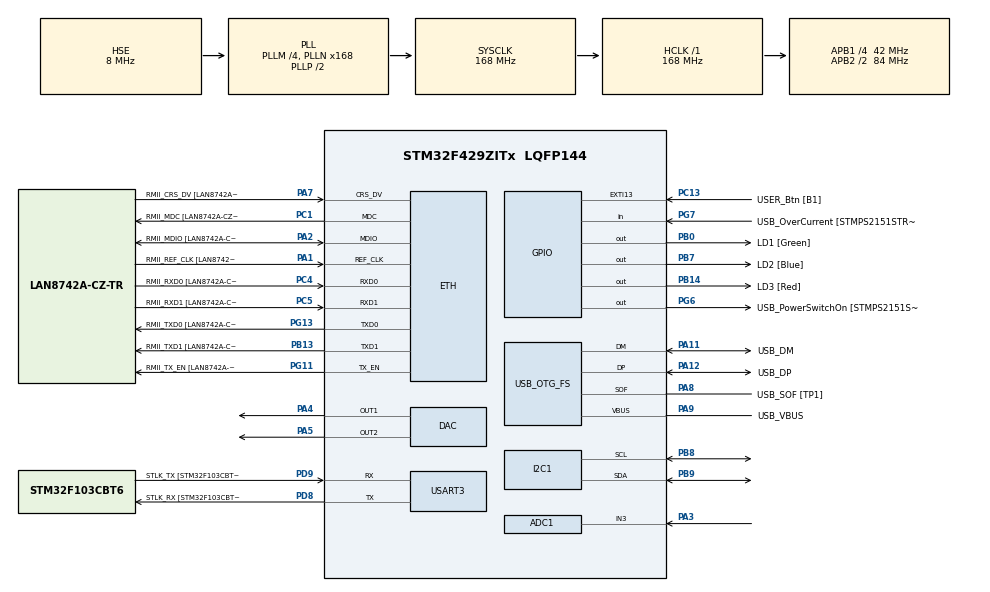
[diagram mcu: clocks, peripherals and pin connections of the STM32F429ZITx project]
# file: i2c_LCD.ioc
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ADC1.Channel-0\#ChannelRegularConversion=ADC_CHANNEL_3
ADC1.NbrOfConversionFlag=1
ADC1.Rank-0\#ChannelRegularConversion=1
ADC1.SamplingTime-0\#ChannelRegularConversion=ADC_SAMPLETIME_3CYCLES
ADC1.master=1
ETH.MediaInterface=HAL_ETH_RMII_MODE
ETH.PHY_Name=LAN8742A_PHY_ADDRESS
ETH.PHY_Value=0
ETH.PhyAddress=0
Mcu.Family=STM32F4
Mcu.Name=STM32F429ZITx
Mcu.Package=LQFP144
NVIC.PriorityGroup=NVIC_PRIORITYGROUP_4
PA1.GPIO_Label=RMII_REF_CLK [LAN8742A-CZ-TR_REFCLK0]
PA1.Mode=RMII
PA1.Signal=ETH_REF_CLK
PA10.GPIO_Label=USB_ID
PA10.Signal=USB_OTG_FS_ID
PA11.GPIO_Label=USB_DM
PA11.Mode=Device_Only
PA11.Signal=USB_OTG_FS_DM
PA12.GPIO_Label=USB_DP
PA12.Mode=Device_Only
PA12.Signal=USB_OTG_FS_DP
PA13.GPIO_Label=TMS
PA13.Mode=Serial_Wire
PA13.Signal=SYS_JTMS-SWDIO
PA14.GPIO_Label=TCK
PA14.Mode=Serial_Wire
PA14.Signal=SYS_JTCK-SWCLK
PA2.GPIO_Label=RMII_MDIO [LAN8742A-CZ-TR_MDIO]
PA2.Mode=RMII
PA2.Signal=ETH_MDIO
PA3.Signal=ADCx_IN3
PA4.Signal=COMP_DAC1_group
PA5.Signal=COMP_DAC2_group
PA7.GPIO_Label=RMII_CRS_DV [LAN8742A-CZ-TR_CRS_DV]
PA7.Mode=RMII
PA7.Signal=ETH_CRS_DV
PA8.GPIO_Label=USB_SOF [TP1]
PA8.Mode=Activate_SOF_FS
PA8.Signal=USB_OTG_FS_SOF
PA9.GPIO_Label=USB_VBUS
PA9.Mode=Activate_VBUS
PA9.Signal=USB_OTG_FS_VBUS
PB0.GPIO_Label=LD1 [Green]
PB0.Signal=GPIO_Output
PB13.GPIO_Label=RMII_TXD1 [LAN8742A-CZ-TR_TXD1]
PB13.Mode=RMII
PB13.Signal=ETH_TXD1
PB14.GPIO_Label=LD3 [Red]
PB14.Signal=GPIO_Output
PB7.GPIO_Label=LD2 [Blue]
PB7.Signal=GPIO_Output
PB8.Mode=I2C
PB8.Signal=I2C1_SCL
PB9.Mode=I2C
PB9.Signal=I2C1_SDA
PC1.GPIO_Label=RMII_MDC [LAN8742A-CZ-TR_MDC]
PC1.Mode=RMII
PC1.Signal=ETH_MDC
PC13.GPIO_Label=USER_Btn [B1]
PC13.Signal=GPXTI13
PC14/OSC32_IN.Mode=LSE-External-Oscillator
PC14/OSC32_IN.Signal=RCC_OSC32_IN
PC15/OSC32_OUT.Mode=LSE-External-Oscillator
PC15/OSC32_OUT.Signal=RCC_OSC32_OUT
PC4.GPIO_Label=RMII_RXD0 [LAN8742A-CZ-TR_RXD0]
PC4.Mode=RMII
PC4.Signal=ETH_RXD0
PC5.GPIO_Label=RMII_RXD1 [LAN8742A-CZ-TR_RXD1]
PC5.Mode=RMII
PC5.Signal=ETH_RXD1
PD8.GPIO_Label=STLK_RX [STM32F103CBT6_PA3]
PD8.Mode=Asynchronous
PD8.Signal=USART3_TX
PD9.GPIO_Label=STLK_TX [STM32F103CBT6_PA2]
PD9.Mode=Asynchronous
PD9.Signal=USART3_RX
PG11.GPIO_Label=RMII_TX_EN [LAN8742A-CZ-TR_TXEN]
PG11.Mode=RMII
PG11.Signal=ETH_TX_EN
PG13.GPIO_Label=RMII_TXD0 [LAN8742A-CZ-TR_TXD0]
PG13.Mode=RMII
PG13.Signal=ETH_TXD0
PG6.GPIO_Label=USB_PowerSwitchOn [STMPS2151STR_EN]
PG6.Signal=GPIO_Output
PG7.GPIO_Label=USB_OverCurrent [STMPS2151STR_FAULT]
PG7.Signal=GPIO_Input
PH0/OSC_IN.GPIO_Label=MCO [STM32F103CBT6_PA8]
PH0/OSC_IN.Mode=HSE-External-Clock-Source
PH0/OSC_IN.Signal=RCC_OSC_IN
PH1/OSC_OUT.Mode=HSE-External-Clock-Source
PH1/OSC_OUT.Signal=RCC_OSC_OUT
ProjectManager.HeapSize=0x200
ProjectManager.StackSize=0x400
ProjectManager.TargetToolchain=STM32CubeIDE
RCC.48MHZClocksFreq_Value=48000000
RCC.AHBFreq_Value=168000000
RCC.APB1CLKDivider=RCC_HCLK_DIV4
RCC.APB1Freq_Value=42000000
RCC.APB1TimFreq_Value=84000000
RCC.APB2CLKDivider=RCC_HCLK_DIV2
RCC.APB2Freq_Value=84000000
RCC.APB2TimCLKDivider=2
RCC.APB2TimFreq_Value=168000000
RCC.CortexFreq_Value=168000000
RCC.HCLKFreq_Value=168000000
RCC.HSE_VALUE=8000000
RCC.HSI_VALUE=16000000
RCC.PLLM=4
RCC.PLLMUL=RCC_PLL_MUL9
RCC.PLLN=168
RCC.PLLQ=7
RCC.PRESCALERUSB=RCC_USBCLKSOURCE_PLL_DIV1_5
RCC.SYSCLKFreq_VALUE=168000000
RCC.SYSCLKSource=RCC_SYSCLKSOURCE_PLLCLK
RCC.SYSCLKSourceVirtual=RCC_SYSCLKSOURCE_PLLCLK
RCC.USBFreq_Value=48000000
RCC.VCOOutputFreq_Value=336000000
SH.ADCx_IN3.0=ADC1_IN3,IN3
SH.COMP_DAC1_group.0=DAC_OUT1,DAC_OUT1
SH.COMP_DAC2_group.0=DAC_OUT2,DAC_OUT2
USART3.VirtualMode=VM_ASYNC
USB_OTG_FS.VirtualMode=Device_Only
board=NUCLEO-F429ZI

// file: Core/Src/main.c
/* USER CODE BEGIN Header */
/**
  ******************************************************************************
  * @file           : main.c
  * @brief          : Main program body
  ******************************************************************************
  * @attention
  *
  * Copyright (c) 2023 STMicroelectronics.
  * All rights reserved.
  *
  * This software is licensed under terms that can be found in the LICENSE file
  * in the root directory of this software component.
  * If no LICENSE file comes with this software, it is provided AS-IS.
  *
  ******************************************************************************
  */
/* USER CODE END Header */
#include "main.h"
#include "string.h"

ETH_TxPacketConfig TxConfig;
ETH_DMADescTypeDef  DMARxDscrTab[ETH_RX_DESC_CNT]; /* Ethernet Rx DMA Descriptors */
ETH_DMADescTypeDef  DMATxDscrTab[ETH_TX_DESC_CNT]; /* Ethernet Tx DMA Descriptors */

ADC_HandleTypeDef hadc1;

DAC_HandleTypeDef hdac;

ETH_HandleTypeDef heth;

I2C_HandleTypeDef hi2c1;

UART_HandleTypeDef huart3;

PCD_HandleTypeDef hpcd_USB_OTG_FS;

void SystemClock_Config(void);
static void MX_GPIO_Init(void);
static void MX_ETH_Init(void);
static void MX_USART3_UART_Init(void);
static void MX_USB_OTG_FS_PCD_Init(void);
static void MX_I2C1_Init(void);
static void MX_ADC1_Init(void);
static void MX_DAC_Init(void);
/* USER CODE BEGIN PFP */
int _write(int file, char *ptr, int len) {
	HAL_UART_Transmit(&huart3, (uint8_t *)ptr, len, 500);
	return len;
}

int __io_putchar(int ch) {
	HAL_UART_Transmit(&huart3, (uint8_t *)&ch, 1, 1000);
	return ch;
}
/* USER CODE END PFP */

/* USER CODE BEGIN 0 */

extern void I2C_Scan(void);
void init();
/* USER CODE END 0 */

int main(void)
{

  /* MCU Configuration--------------------------------------------------------*/

  /* Reset of all peripherals, Initializes the Flash interface and the Systick. */
  HAL_Init();

  /* Configure the system clock */
  SystemClock_Config();

  /* Initialize all configured peripherals */
  MX_GPIO_Init();
  MX_ETH_Init();
  MX_USART3_UART_Init();
  MX_USB_OTG_FS_PCD_Init();
  MX_I2C1_Init();
  MX_ADC1_Init();
  MX_DAC_Init();
  /* USER CODE BEGIN 2 */
  int adc_value;
  char lcd_buf1[30];
  char lcd_buf2[30];

  HAL_ADC_Start_IT(&hadc1);
  HAL_DAC_Start(&hdac, DAC_CHANNEL_1);
  HAL_DAC_Start(&hdac, DAC_CHANNEL_2);

//	init();
#define LCD_ADDR (0x27 << 1)
	I2C_Scan();
	LCD_Init(LCD_ADDR);
  /* USER CODE END 2 */

  /* Infinite loop */
  /* USER CODE BEGIN WHILE */
  while (1)
  {

	  HAL_DAC_SetValue(&hdac, DAC_CHANNEL_1, DAC_ALIGN_12B_R, adc_value);
	  HAL_DAC_SetValue(&hdac, DAC_CHANNEL_2, DAC_ALIGN_12B_R, 4095-adc_value);
	  HAL_Delay(1);

	  HAL_ADC_Start(&hadc1);
	  HAL_ADC_PollForConversion(&hadc1, 10);
	  adc_value = HAL_ADC_GetValue(&hadc1);
	  HAL_ADC_Stop(&hadc1);

	  sprintf(lcd_buf1, "ADC,DAC1 : %4d", adc_value);
	  sprintf(lcd_buf2, "DAC2 : %4d", 4095-adc_value);

	  printf("ADC : %d, DAC1 : %d, DAC2 : %d \r\n", adc_value, adc_value, 4095-adc_value);
	  HAL_Delay(300);

	// set address to 0x00
	LCD_SendCommand(LCD_ADDR, 0b10000000);
//	LCD_SendString(LCD_ADDR, " Hi! ");
	LCD_SendString(LCD_ADDR, lcd_buf1);

	// set address to 0x40
	LCD_SendCommand(LCD_ADDR, 0b11000000);
	LCD_SendString(LCD_ADDR, lcd_buf2);

    /* USER CODE END WHILE */

  }
}

void SystemClock_Config(void)
{
  RCC_OscInitTypeDef RCC_OscInitStruct = {0};
  RCC_ClkInitTypeDef RCC_ClkInitStruct = {0};

  /** Configure the main internal regulator output voltage
  */
  __HAL_RCC_PWR_CLK_ENABLE();
  __HAL_PWR_VOLTAGESCALING_CONFIG(PWR_REGULATOR_VOLTAGE_SCALE1);

  /** Initializes the RCC Oscillators according to the specified parameters
  * in the RCC_OscInitTypeDef structure.
  */
  RCC_OscInitStruct.OscillatorType = RCC_OSCILLATORTYPE_HSE;
  RCC_OscInitStruct.HSEState = RCC_HSE_BYPASS;
  RCC_OscInitStruct.PLL.PLLState = RCC_PLL_ON;
  RCC_OscInitStruct.PLL.PLLSource = RCC_PLLSOURCE_HSE;
  RCC_OscInitStruct.PLL.PLLM = 4;
  RCC_OscInitStruct.PLL.PLLN = 168;
  RCC_OscInitStruct.PLL.PLLP = RCC_PLLP_DIV2;
  RCC_OscInitStruct.PLL.PLLQ = 7;
  if (HAL_RCC_OscConfig(&RCC_OscInitStruct) != HAL_OK)
  {
    Error_Handler();
  }

  /** Initializes the CPU, AHB and APB buses clocks
  */
  RCC_ClkInitStruct.ClockType = RCC_CLOCKTYPE_HCLK|RCC_CLOCKTYPE_SYSCLK
                              |RCC_CLOCKTYPE_PCLK1|RCC_CLOCKTYPE_PCLK2;
  RCC_ClkInitStruct.SYSCLKSource = RCC_SYSCLKSOURCE_PLLCLK;
  RCC_ClkInitStruct.AHBCLKDivider = RCC_SYSCLK_DIV1;
  RCC_ClkInitStruct.APB1CLKDivider = RCC_HCLK_DIV4;
  RCC_ClkInitStruct.APB2CLKDivider = RCC_HCLK_DIV2;

  if (HAL_RCC_ClockConfig(&RCC_ClkInitStruct, FLASH_LATENCY_5) != HAL_OK)
  {
    Error_Handler();
  }
}

static void MX_ADC1_Init(void)
{

  ADC_ChannelConfTypeDef sConfig = {0};

  /** Configure the global features of the ADC (Clock, Resolution, Data Alignment and number of conversion)
  */
  hadc1.Instance = ADC1;
  hadc1.Init.ClockPrescaler = ADC_CLOCK_SYNC_PCLK_DIV4;
  hadc1.Init.Resolution = ADC_RESOLUTION_12B;
  hadc1.Init.ScanConvMode = DISABLE;
  hadc1.Init.ContinuousConvMode = DISABLE;
  hadc1.Init.DiscontinuousConvMode = DISABLE;
  hadc1.Init.ExternalTrigConvEdge = ADC_EXTERNALTRIGCONVEDGE_NONE;
  hadc1.Init.ExternalTrigConv = ADC_SOFTWARE_START;
  hadc1.Init.DataAlign = ADC_DATAALIGN_RIGHT;
  hadc1.Init.NbrOfConversion = 1;
  hadc1.Init.DMAContinuousRequests = DISABLE;
  hadc1.Init.EOCSelection = ADC_EOC_SINGLE_CONV;
  if (HAL_ADC_Init(&hadc1) != HAL_OK)
  {
    Error_Handler();
  }

  /** Configure for the selected ADC regular channel its corresponding rank in the sequencer and its sample time.
  */
  sConfig.Channel = ADC_CHANNEL_3;
  sConfig.Rank = 1;
  sConfig.SamplingTime = ADC_SAMPLETIME_3CYCLES;
  if (HAL_ADC_ConfigChannel(&hadc1, &sConfig) != HAL_OK)
  {
    Error_Handler();
  }

}

static void MX_DAC_Init(void)
{

  DAC_ChannelConfTypeDef sConfig = {0};

  /** DAC Initialization
  */
  hdac.Instance = DAC;
  if (HAL_DAC_Init(&hdac) != HAL_OK)
  {
    Error_Handler();
  }

  /** DAC channel OUT1 config
  */
  sConfig.DAC_Trigger = DAC_TRIGGER_NONE;
  sConfig.DAC_OutputBuffer = DAC_OUTPUTBUFFER_ENABLE;
  if (HAL_DAC_ConfigChannel(&hdac, &sConfig, DAC_CHANNEL_1) != HAL_OK)
  {
    Error_Handler();
  }

  /** DAC channel OUT2 config
  */
  if (HAL_DAC_ConfigChannel(&hdac, &sConfig, DAC_CHANNEL_2) != HAL_OK)
  {
    Error_Handler();
  }

}

static void MX_ETH_Init(void)
{

   static uint8_t MACAddr[6];

  heth.Instance = ETH;
  MACAddr[0] = 0x00;
  MACAddr[1] = 0x80;
  MACAddr[2] = 0xE1;
  MACAddr[3] = 0x00;
  MACAddr[4] = 0x00;
  MACAddr[5] = 0x00;
  heth.Init.MACAddr = &MACAddr[0];
  heth.Init.MediaInterface = HAL_ETH_RMII_MODE;
  heth.Init.TxDesc = DMATxDscrTab;
  heth.Init.RxDesc = DMARxDscrTab;
  heth.Init.RxBuffLen = 1524;

  if (HAL_ETH_Init(&heth) != HAL_OK)
  {
    Error_Handler();
  }

  memset(&TxConfig, 0 , sizeof(ETH_TxPacketConfig));
  TxConfig.Attributes = ETH_TX_PACKETS_FEATURES_CSUM | ETH_TX_PACKETS_FEATURES_CRCPAD;
  TxConfig.ChecksumCtrl = ETH_CHECKSUM_IPHDR_PAYLOAD_INSERT_PHDR_CALC;
  TxConfig.CRCPadCtrl = ETH_CRC_PAD_INSERT;

}

static void MX_I2C1_Init(void)
{

  hi2c1.Instance = I2C1;
  hi2c1.Init.ClockSpeed = 100000;
  hi2c1.Init.DutyCycle = I2C_DUTYCYCLE_2;
  hi2c1.Init.OwnAddress1 = 0;
  hi2c1.Init.AddressingMode = I2C_ADDRESSINGMODE_7BIT;
  hi2c1.Init.DualAddressMode = I2C_DUALADDRESS_DISABLE;
  hi2c1.Init.OwnAddress2 = 0;
  hi2c1.Init.GeneralCallMode = I2C_GENERALCALL_DISABLE;
  hi2c1.Init.NoStretchMode = I2C_NOSTRETCH_DISABLE;
  if (HAL_I2C_Init(&hi2c1) != HAL_OK)
  {
    Error_Handler();
  }

  /** Configure Analogue filter
  */
  if (HAL_I2CEx_ConfigAnalogFilter(&hi2c1, I2C_ANALOGFILTER_ENABLE) != HAL_OK)
  {
    Error_Handler();
  }

  /** Configure Digital filter
  */
  if (HAL_I2CEx_ConfigDigitalFilter(&hi2c1, 0) != HAL_OK)
  {
    Error_Handler();
  }

}

static void MX_USART3_UART_Init(void)
{

  huart3.Instance = USART3;
  huart3.Init.BaudRate = 115200;
  huart3.Init.WordLength = UART_WORDLENGTH_8B;
  huart3.Init.StopBits = UART_STOPBITS_1;
  huart3.Init.Parity = UART_PARITY_NONE;
  huart3.Init.Mode = UART_MODE_TX_RX;
  huart3.Init.HwFlowCtl = UART_HWCONTROL_NONE;
  huart3.Init.OverSampling = UART_OVERSAMPLING_16;
  if (HAL_UART_Init(&huart3) != HAL_OK)
  {
    Error_Handler();
  }

}

static void MX_USB_OTG_FS_PCD_Init(void)
{

  hpcd_USB_OTG_FS.Instance = USB_OTG_FS;
  hpcd_USB_OTG_FS.Init.dev_endpoints = 4;
  hpcd_USB_OTG_FS.Init.speed = PCD_SPEED_FULL;
  hpcd_USB_OTG_FS.Init.dma_enable = DISABLE;
  hpcd_USB_OTG_FS.Init.phy_itface = PCD_PHY_EMBEDDED;
  hpcd_USB_OTG_FS.Init.Sof_enable = ENABLE;
  hpcd_USB_OTG_FS.Init.low_power_enable = DISABLE;
  hpcd_USB_OTG_FS.Init.lpm_enable = DISABLE;
  hpcd_USB_OTG_FS.Init.vbus_sensing_enable = ENABLE;
  hpcd_USB_OTG_FS.Init.use_dedicated_ep1 = DISABLE;
  if (HAL_PCD_Init(&hpcd_USB_OTG_FS) != HAL_OK)
  {
    Error_Handler();
  }

}

static void MX_GPIO_Init(void)
{
  GPIO_InitTypeDef GPIO_InitStruct = {0};

  /* GPIO Ports Clock Enable */
  __HAL_RCC_GPIOC_CLK_ENABLE();
  __HAL_RCC_GPIOH_CLK_ENABLE();
  __HAL_RCC_GPIOA_CLK_ENABLE();
  __HAL_RCC_GPIOB_CLK_ENABLE();
  __HAL_RCC_GPIOD_CLK_ENABLE();
  __HAL_RCC_GPIOG_CLK_ENABLE();

  /*Configure GPIO pin Output Level */
  HAL_GPIO_WritePin(GPIOB, LD1_Pin|LD3_Pin|LD2_Pin, GPIO_PIN_RESET);

  /*Configure GPIO pin Output Level */
  HAL_GPIO_WritePin(USB_PowerSwitchOn_GPIO_Port, USB_PowerSwitchOn_Pin, GPIO_PIN_RESET);

  /*Configure GPIO pin : USER_Btn_Pin */
  GPIO_InitStruct.Pin = USER_Btn_Pin;
  GPIO_InitStruct.Mode = GPIO_MODE_IT_RISING;
  GPIO_InitStruct.Pull = GPIO_NOPULL;
  HAL_GPIO_Init(USER_Btn_GPIO_Port, &GPIO_InitStruct);

  /*Configure GPIO pins : LD1_Pin LD3_Pin LD2_Pin */
  GPIO_InitStruct.Pin = LD1_Pin|LD3_Pin|LD2_Pin;
  GPIO_InitStruct.Mode = GPIO_MODE_OUTPUT_PP;
  GPIO_InitStruct.Pull = GPIO_NOPULL;
  GPIO_InitStruct.Speed = GPIO_SPEED_FREQ_LOW;
  HAL_GPIO_Init(GPIOB, &GPIO_InitStruct);

  /*Configure GPIO pin : USB_PowerSwitchOn_Pin */
  GPIO_InitStruct.Pin = USB_PowerSwitchOn_Pin;
  GPIO_InitStruct.Mode = GPIO_MODE_OUTPUT_PP;
  GPIO_InitStruct.Pull = GPIO_NOPULL;
  GPIO_InitStruct.Speed = GPIO_SPEED_FREQ_LOW;
  HAL_GPIO_Init(USB_PowerSwitchOn_GPIO_Port, &GPIO_InitStruct);

  /*Configure GPIO pin : USB_OverCurrent_Pin */
  GPIO_InitStruct.Pin = USB_OverCurrent_Pin;
  GPIO_InitStruct.Mode = GPIO_MODE_INPUT;
  GPIO_InitStruct.Pull = GPIO_NOPULL;
  HAL_GPIO_Init(USB_OverCurrent_GPIO_Port, &GPIO_InitStruct);

}

void Error_Handler(void)
{
  __disable_irq();
  while (1)
  {
  }
}
